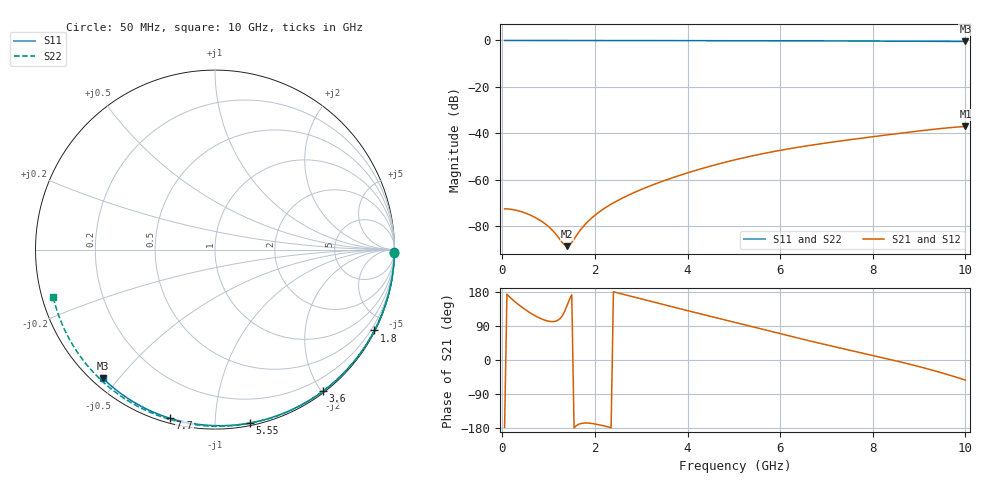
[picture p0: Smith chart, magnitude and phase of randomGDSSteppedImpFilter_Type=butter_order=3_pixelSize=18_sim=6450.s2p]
! freq	dB(S11)	phase(S11)	dB(S12)	phase(S12)
!  dB(S21)	phase(S21)	dB(S22)	phase(S22)
!S-par simulation data
#  GHz  S  DB  R 50
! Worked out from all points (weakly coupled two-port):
!   200 points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, 50 MHz to 10 GHz, reference 50 ohm
!   highest |S21| = -37.09 dB at 10 GHz (marker M1); lowest = -88.7 dB at 1.4 GHz (marker M2)
!   lowest |S11| = -0.4 dB at 10 GHz (marker M3), VSWR 39.56, Z = 1.52 - j22.6 ohm
!   |S11| at or under -10 dB: nowhere
!   |S22| runs from -0.5 to 0.0 dB; largest |S21 - S12| = 0
!   S11 on the Smith chart (normalised r, x): 50 MHz: open; 1.8 GHz: 0.04, -4.18; 3.6 GHz: 0.02, -2.02; 5.55 GHz: 0.02, -1.22; 7.7 GHz: 0.02, -0.77; 10 GHz: 0.03, -0.45
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0.05  -0.00 -0.8  -72.61 -177.3  -72.61 -177.3  -0.00 -1.0
0.25  -0.00 -3.8  -73.01 156.2  -73.01 156.2  -0.00 -4.8
0.5  -0.01 -7.6  -74.44 132.6  -74.44 132.6  -0.01 -9.5
0.75  -0.01 -11.3  -76.76 114.0  -76.76 114.0  -0.01 -14.2
1  -0.02 -15.1  -80.28 102.4  -80.28 102.4  -0.02 -18.9
1.4  -0.03 -21.0  -88.71 144.2  -88.71 144.2  -0.03 -26.4
1.75  -0.03 -26.2  -80.18 -166.5  -80.18 -166.5  -0.04 -32.8
1.8  -0.03 -26.9  -79.07 -166.2  -79.07 -166.2  -0.04 -33.7
2.05  -0.04 -30.5  -74.58 -169.9  -74.58 -169.9  -0.05 -38.3
2.4  -0.05 -35.6  -70.03 180.0  -70.03 180.0  -0.06 -44.6
2.85  -0.05 -42.1  -65.56 165.7  -65.56 165.7  -0.07 -52.6
3.4  -0.07 -49.8  -61.14 148.6  -61.14 148.6  -0.08 -62.1
3.6  -0.07 -52.6  -59.72 142.4  -59.72 142.4  -0.09 -65.6
4.3  -0.09 -62.1  -55.29 121.1  -55.29 121.1  -0.11 -77.3
5.05  -0.11 -72.1  -51.34 98.2  -51.34 98.2  -0.14 -89.4
5.55  -0.13 -78.6  -49.13 82.9  -49.13 82.9  -0.16 -97.3
6.1  -0.15 -85.5  -47.02 66.2  -47.02 66.2  -0.19 -105.8
6.7  -0.18 -92.9  -45.07 48.6  -45.07 48.6  -0.22 -114.9
7.7  -0.24 -104.9  -42.29 20.4  -42.29 20.4  -0.30 -129.8
8.35  -0.29 -112.5  -40.62 2.1  -40.62 2.1  -0.36 -139.4
9.2  -0.36 -122.2  -38.56 -23.9  -38.56 -23.9  -0.45 -151.9
10  -0.44 -131.2  -37.09 -53.0  -37.09 -53.0  -0.54 -163.8
